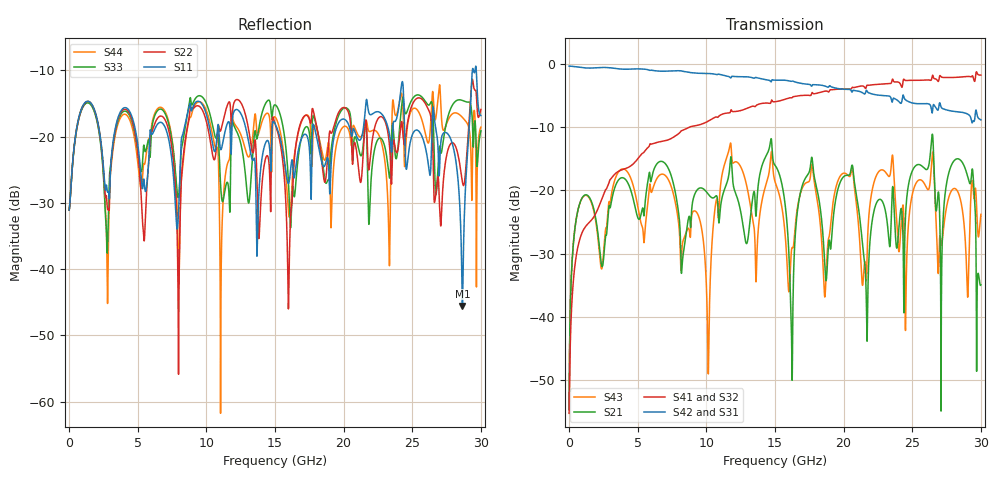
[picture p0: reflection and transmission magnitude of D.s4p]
!MTL model of D, calibrated on full-wave A (medium)
# Hz S RI R 50.0
!freq ReS11 ImS11 ReS12 ImS12 ReS13 ImS13
! ReS14 ImS14
! ReS21 ImS21 ReS22 ImS22 ReS23 ImS23
! ReS24 ImS24
! ReS31 ImS31 ReS32 ImS32 ReS33 ImS33
! ReS34 ImS34
! ReS41 ImS41 ReS42 ImS42 ReS43 ImS43
! ReS44 ImS44
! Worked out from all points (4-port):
!   3000 points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, 10 MHz to 30 GHz, reference 50 ohm
!   strongest paths, dB at 10 MHz, 7.51 GHz, 15.01 GHz, 22.51 GHz, 30 GHz:
!     S42: -0.4, -1.2, -2.6, -5.0, -8.9
!     S31: -0.4, -1.1, -2.6, -5.0, -8.8
!     S41: -55.2, -11.7, -6.0, -3.3, -1.8
!     S32: -55.2, -11.9, -6.1, -3.3, -1.9
!     S21: -54.6, -18.2, -16.1, -21.6, -34.9
!     S43: -54.6, -19.8, -18.7, -17.2, -23.8
!   lowest |S11| = -45.5 dB at 28.66 GHz (marker M1), VSWR 1.01, Z = 50.4 + j0.381 ohm
!   |S11| at or under -10 dB: start of sweep to 29.38 GHz; 29.45844 GHz to 29.57722 GHz (118.8 MHz wide, 0.402 % of centre); 29.67 GHz to end of sweep
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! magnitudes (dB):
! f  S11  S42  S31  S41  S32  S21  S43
! 10 MHz  -31.1  -0.4  -0.4  -55.2  -55.2  -54.6  -54.6
! 3.84 GHz  -15.9  -0.9  -0.9  -16.8  -16.7  -18.0  -16.7
! 10.14 GHz  -17.7  -1.6  -1.6  -9.1  -9.1  -20.6  -48.7
! 14.67 GHz  -23.7  -2.8  -2.8  -6.3  -6.5  -12.4  -15.3
! 16.22 GHz  -23.6  -2.8  -2.8  -5.4  -5.3  -44.3  -29.2
! 28.66 GHz  -45.5  -7.7  -7.7  -2.1  -2.2  -15.6  -23.2
! 30 GHz  -16.8  -8.9  -8.8  -1.8  -1.9  -34.9  -23.8
